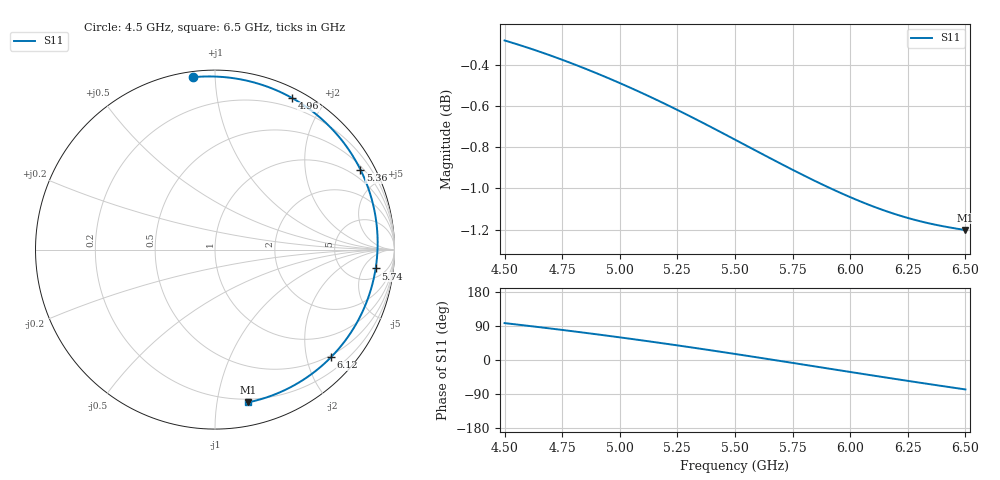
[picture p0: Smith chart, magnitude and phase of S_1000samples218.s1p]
! TOUCHSTONE file generated by CST MICROWAVE STUDIO
! Date and time: Thu Oct 27 10:08:29 2022
! Project name: L.cst
! Parameters = {Di=1.27; Epsilon_r=1.56; InnerDiameter=1.27; Length=2; Lf=10; Lg=60; OuterConductorThickness=0.2921; OuterDiameter=3.6; Wf=3; Wp=41.2; de=1.5; df=6.8; g=0.8; gx=4.2251; gy=4.40844; h=2.34; hf=1.524; px=8.83853; py=12.5262; w=9.7; wx=4.61343; wy=8.11775}
! Header version: 2018
! Port assignment regex: !\s*Touchstone port\s*([0-9]+)\s*=\s*(CST MWS port|CST DS port)\s*([0-9]+|Zmin|Zmax)\s*\(\"(.*)\"\)(\s*mode\s*([0-9]+))?.*
! Touchstone port assignment:
! Touchstone port 1 = CST MWS port 1 ("")
# GHz S DB R 50
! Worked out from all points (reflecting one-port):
!   101 points, 4.5 GHz to 6.5 GHz, reference 50 ohm
!   lowest |S11| = -1.2 dB at 6.5 GHz (marker M1), VSWR 14.48, Z = 8.72 - j61.4 ohm
!   phase of S11 starts at 97 deg and turns -175 deg over the sweep
!   S11 on the Smith chart (normalised r, x): 4.5 GHz: 0.03, +0.88; 4.96 GHz: 0.10, +1.63; 5.36 GHz: 0.62, +3.80; 5.74 GHz: 9, -10; 6.12 GHz: 0.46, -2.47; 6.5 GHz: 0.17, -1.23
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4.5  -0.28 97.4
4.64  -0.33 87.4
4.76  -0.38 78.6
4.86  -0.42 70.9
4.96  -0.47 63.0
5  -0.49 59.7
5.12  -0.55 49.8
5.18  -0.58 44.7
5.26  -0.62 37.7
5.36  -0.68 28.8
5.44  -0.73 21.5
5.5  -0.76 16.0
5.56  -0.80 10.4
5.62  -0.83 4.7
5.68  -0.87 -1.0
5.74  -0.90 -6.7
5.76  -0.91 -8.6
5.82  -0.95 -14.4
5.88  -0.98 -20.1
5.94  -1.01 -25.8
6  -1.04 -31.6
6.12  -1.10 -42.9
6.2  -1.13 -50.4
6.26  -1.15 -56.0
6.32  -1.16 -61.5
6.38  -1.18 -66.9
6.44  -1.19 -72.3
6.5  -1.20 -77.7
